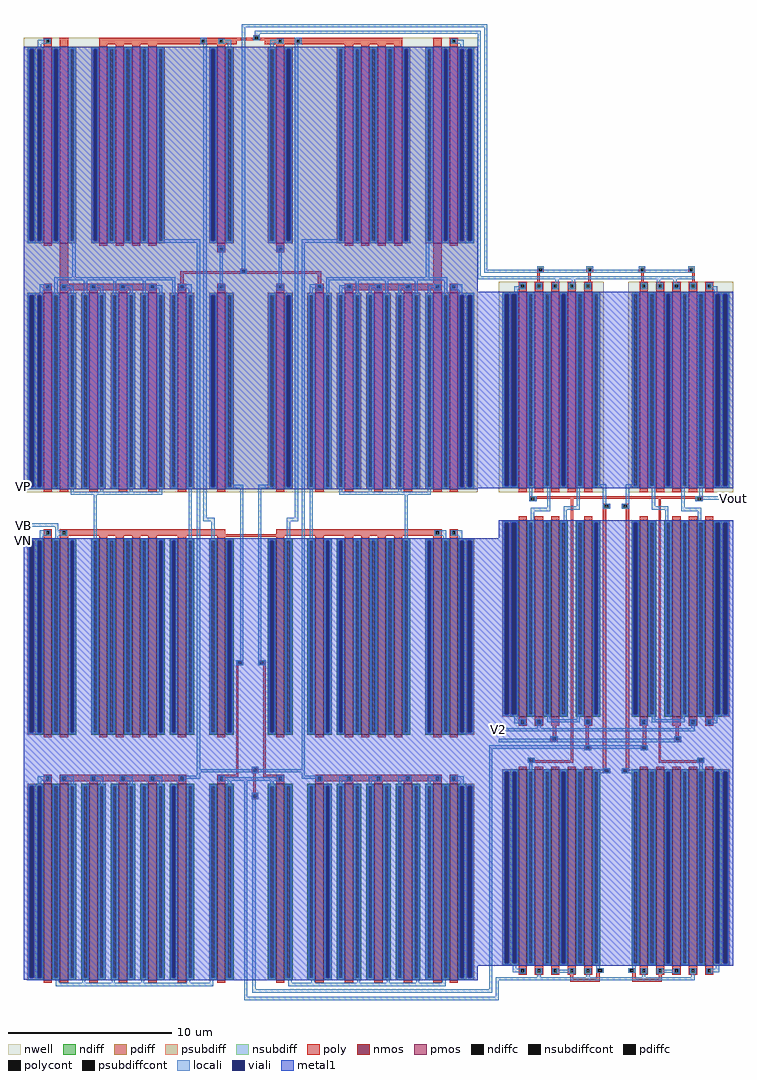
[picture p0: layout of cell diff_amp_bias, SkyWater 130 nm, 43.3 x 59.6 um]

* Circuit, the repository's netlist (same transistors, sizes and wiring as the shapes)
* NGSPICE file created from diff_amp_bias.ext - technology: sky130A

.subckt bias_gen VB VP VN VCP VBP VBN VCN
X0 a_4180_9000# VBP a_3980_9000# VP sky130_fd_pr__pfet_01v8 ad=3 pd=12.5 as=3 ps=12.5 w=12 l=0.5
X1 a_3420_6000# a_3580_6000# a_3580_6000# VP sky130_fd_pr__pfet_01v8 ad=3 pd=12.5 as=6 ps=25 w=12 l=0.5
X2 VN VB VB VN sky130_fd_pr__nfet_01v8 ad=6 pd=25 as=3 ps=12.5 w=12 l=0.5
X3 a_3780_3000# VB VN VN sky130_fd_pr__nfet_01v8 ad=3 pd=12.5 as=6 ps=25 w=12 l=0.5
X4 VN VN a_2940_0# VN sky130_fd_pr__nfet_01v8 ad=6 pd=25 as=3 ps=12.5 w=12 l=0.5
X5 VCP VCP a_100_6000# VP sky130_fd_pr__pfet_01v8 ad=6 pd=25 as=6 ps=25 w=12 l=0.5
X6 VN VB VBP VN sky130_fd_pr__nfet_01v8 ad=6 pd=25 as=6 ps=25 w=12 l=0.5
X7 VP VP VP VP sky130_fd_pr__pfet_01v8 ad=6 pd=25 as=72 ps=300 w=12 l=0.5
X8 a_3980_9000# VBP a_3780_9000# VP sky130_fd_pr__pfet_01v8 ad=3 pd=12.5 as=3 ps=12.5 w=12 l=0.5
X9 a_100_0# VN VN VN sky130_fd_pr__nfet_01v8 ad=3 pd=12.5 as=6 ps=25 w=12 l=0.5
X10 a_980_3000# VB a_780_3000# VN sky130_fd_pr__nfet_01v8 ad=3 pd=12.5 as=3 ps=12.5 w=12 l=0.5
X11 VN VB a_1180_3000# VN sky130_fd_pr__nfet_01v8 ad=6 pd=25 as=3 ps=12.5 w=12 l=0.5
X12 a_200_5970# a_200_5970# a_100_6000# VP sky130_fd_pr__pfet_01v8 ad=6 pd=25 as=6 ps=25 w=12 l=0.5
X13 a_100_6000# VP VP VP sky130_fd_pr__pfet_01v8 ad=3 pd=12.5 as=6 ps=25 w=12 l=0.5
X14 a_3420_6000# VCP VCP VP sky130_fd_pr__pfet_01v8 ad=6 pd=25 as=6 ps=25 w=12 l=0.5
X15 a_780_9000# VBP VP VP sky130_fd_pr__pfet_01v8 ad=3 pd=12.5 as=6 ps=25 w=12 l=0.5
X16 a_1180_9000# VBP a_980_9000# VP sky130_fd_pr__pfet_01v8 ad=3 pd=12.5 as=3 ps=12.5 w=12 l=0.5
X17 a_3420_6000# a_3580_6000# a_3580_6000# VP sky130_fd_pr__pfet_01v8 ad=6 pd=25 as=6 ps=25 w=12 l=0.5
X18 VCN VCN a_100_0# VN sky130_fd_pr__nfet_01v8 ad=6 pd=25 as=6 ps=25 w=12 l=0.5
X19 VB VB VN VN sky130_fd_pr__nfet_01v8 ad=3 pd=12.5 as=6 ps=25 w=12 l=0.5
X20 VBN VBN a_100_0# VN sky130_fd_pr__nfet_01v8 ad=6 pd=25 as=3 ps=12.5 w=12 l=0.5
X21 VP VP VP VP sky130_fd_pr__pfet_01v8 ad=3 pd=12.5 as=0 ps=0 w=12 l=0.5
X22 VCP VB VN VN sky130_fd_pr__nfet_01v8 ad=6 pd=25 as=6 ps=25 w=12 l=0.5
X23 a_100_0# VBN VN VN sky130_fd_pr__nfet_01v8 ad=6 pd=25 as=6 ps=25 w=12 l=0.5
X24 a_4180_3000# VB a_3980_3000# VN sky130_fd_pr__nfet_01v8 ad=3 pd=12.5 as=3 ps=12.5 w=12 l=0.5
X25 VN VBN a_2940_0# VN sky130_fd_pr__nfet_01v8 ad=6 pd=25 as=6 ps=25 w=12 l=0.5
X26 a_2940_0# VBN VBN VN sky130_fd_pr__nfet_01v8 ad=6 pd=25 as=6 ps=25 w=12 l=0.5
X27 VP VBP VBP VP sky130_fd_pr__pfet_01v8 ad=6 pd=25 as=6 ps=25 w=12 l=0.5
X28 a_200_5970# a_200_5970# a_100_6000# VP sky130_fd_pr__pfet_01v8 ad=6 pd=25 as=6 ps=25 w=12 l=0.5
X29 VP VBP a_4180_9000# VP sky130_fd_pr__pfet_01v8 ad=6 pd=25 as=3 ps=12.5 w=12 l=0.5
X30 VP VP a_3420_6000# VP sky130_fd_pr__pfet_01v8 ad=6 pd=25 as=3 ps=12.5 w=12 l=0.5
X31 a_2940_0# VCN VCN VN sky130_fd_pr__nfet_01v8 ad=6 pd=25 as=6 ps=25 w=12 l=0.5
X32 VP VBP VCN VP sky130_fd_pr__pfet_01v8 ad=6 pd=25 as=6 ps=25 w=12 l=0.5
X33 a_3420_6000# a_3580_6000# a_3580_6000# VP sky130_fd_pr__pfet_01v8 ad=6 pd=25 as=6 ps=25 w=12 l=0.5
X34 VBN VBN a_100_0# VN sky130_fd_pr__nfet_01v8 ad=6 pd=25 as=6 ps=25 w=12 l=0.5
X35 VBN VBN a_100_0# VN sky130_fd_pr__nfet_01v8 ad=6 pd=25 as=6 ps=25 w=12 l=0.5
X36 VB VN VN VN sky130_fd_pr__nfet_01v8 ad=3 pd=12.5 as=6 ps=25 w=12 l=0.5
X37 VN VB VCP VN sky130_fd_pr__nfet_01v8 ad=6 pd=25 as=6 ps=25 w=12 l=0.5
X38 a_3980_3000# VB a_3780_3000# VN sky130_fd_pr__nfet_01v8 ad=3 pd=12.5 as=3 ps=12.5 w=12 l=0.5
X39 a_2940_0# VBN VBN VN sky130_fd_pr__nfet_01v8 ad=6 pd=25 as=6 ps=25 w=12 l=0.5
X40 a_100_6000# a_200_5970# VP VP sky130_fd_pr__pfet_01v8 ad=6 pd=25 as=3 ps=12.5 w=12 l=0.5
X41 a_3780_9000# VBP VBN VP sky130_fd_pr__pfet_01v8 ad=3 pd=12.5 as=6 ps=25 w=12 l=0.5
X42 a_780_3000# VB a_200_5970# VN sky130_fd_pr__nfet_01v8 ad=3 pd=12.5 as=6 ps=25 w=12 l=0.5
X43 a_1180_3000# VB a_980_3000# VN sky130_fd_pr__nfet_01v8 ad=3 pd=12.5 as=3 ps=12.5 w=12 l=0.5
X44 VBN VBN a_100_0# VN sky130_fd_pr__nfet_01v8 ad=6 pd=25 as=6 ps=25 w=12 l=0.5
X45 VBP VBP VP VP sky130_fd_pr__pfet_01v8 ad=6 pd=25 as=6 ps=25 w=12 l=0.5
X46 a_2940_0# VBN VBN VN sky130_fd_pr__nfet_01v8 ad=3 pd=12.5 as=6 ps=25 w=12 l=0.5
X47 a_200_5970# a_200_5970# a_100_6000# VP sky130_fd_pr__pfet_01v8 ad=6 pd=25 as=3 ps=12.5 w=12 l=0.5
X48 a_3420_6000# a_3580_6000# a_3580_6000# VP sky130_fd_pr__pfet_01v8 ad=6 pd=25 as=6 ps=25 w=12 l=0.5
X49 a_2940_0# VBN VBN VN sky130_fd_pr__nfet_01v8 ad=6 pd=25 as=6 ps=25 w=12 l=0.5
X50 a_980_9000# VBP a_780_9000# VP sky130_fd_pr__pfet_01v8 ad=3 pd=12.5 as=3 ps=12.5 w=12 l=0.5
X51 VBN VBP a_1180_9000# VP sky130_fd_pr__pfet_01v8 ad=6 pd=25 as=3 ps=12.5 w=12 l=0.5
X52 VN VN VB VN sky130_fd_pr__nfet_01v8 ad=6 pd=25 as=3 ps=12.5 w=12 l=0.5
X53 VCN VBP VP VP sky130_fd_pr__pfet_01v8 ad=6 pd=25 as=6 ps=25 w=12 l=0.5
X54 VBP VB VN VN sky130_fd_pr__nfet_01v8 ad=6 pd=25 as=6 ps=25 w=12 l=0.5
X55 a_200_5970# a_200_5970# a_100_6000# VP sky130_fd_pr__pfet_01v8 ad=6 pd=25 as=6 ps=25 w=12 l=0.5
X56 VP a_3580_6000# a_3420_6000# VP sky130_fd_pr__pfet_01v8 ad=3 pd=12.5 as=6 ps=25 w=12 l=0.5
X57 a_3580_6000# VB a_4180_3000# VN sky130_fd_pr__nfet_01v8 ad=6 pd=25 as=3 ps=12.5 w=12 l=0.5
.ends

.subckt diff_amp VCN VBN V1 V2 VBP VCP Vout VN VP
X0 VN VBN a_310_2950# VN sky130_fd_pr__nfet_01v8 ad=6 pd=25 as=6 ps=25 w=12 l=0.5
X1 a_1990_5740# V2 a_1590_2950# VN sky130_fd_pr__nfet_01v8 ad=3 pd=12.5 as=3 ps=12.5 w=12 l=0.5
X2 a_1590_n90# VCN a_1270_2260# VN sky130_fd_pr__nfet_01v8 ad=3 pd=12.5 as=6 ps=25 w=12 l=0.5
X3 a_110_2950# VCP Vout VP sky130_fd_pr__pfet_01v8 ad=3 pd=12.5 as=3 ps=12.5 w=12 l=0.5
X4 a_510_2950# VBP VP VP sky130_fd_pr__pfet_01v8 ad=3 pd=12.5 as=3 ps=12.5 w=12 l=0.5
X5 a_1590_2950# VBN VN VN sky130_fd_pr__nfet_01v8 ad=6 pd=25 as=6 ps=25 w=12 l=0.5
X6 VP VP Vout VP sky130_fd_pr__pfet_01v8 ad=6 pd=25 as=3 ps=12.5 w=12 l=0.5
X7 a_1590_2950# V1 a_1590_5740# VN sky130_fd_pr__nfet_01v8 ad=3 pd=12.5 as=6 ps=25 w=12 l=0.5
X8 Vout VP VP VP sky130_fd_pr__pfet_01v8 ad=3 pd=12.5 as=6 ps=25 w=12 l=0.5
X9 VP VBP a_1590_5740# VP sky130_fd_pr__pfet_01v8 ad=3 pd=12.5 as=3 ps=12.5 w=12 l=0.5
X10 a_710_n90# a_410_n200# VN VN sky130_fd_pr__nfet_01v8 ad=3 pd=12.5 as=3 ps=12.5 w=12 l=0.5
X11 VN VN Vout VN sky130_fd_pr__nfet_01v8 ad=6 pd=25 as=3 ps=12.5 w=12 l=0.5
X12 VN a_1270_2260# a_1590_n90# VN sky130_fd_pr__nfet_01v8 ad=3 pd=12.5 as=3 ps=12.5 w=12 l=0.5
X13 a_310_2950# V2 a_110_2950# VN sky130_fd_pr__nfet_01v8 ad=3 pd=12.5 as=3 ps=12.5 w=12 l=0.5
X14 VN VN a_1990_5740# VN sky130_fd_pr__nfet_01v8 ad=6 pd=25 as=3 ps=12.5 w=12 l=0.5
X15 Vout VN VN VN sky130_fd_pr__nfet_01v8 ad=3 pd=12.5 as=6 ps=25 w=12 l=0.5
X16 a_310_n90# VCN Vout VN sky130_fd_pr__nfet_01v8 ad=3 pd=12.5 as=3 ps=12.5 w=12 l=0.5
X17 VP VBP a_110_2950# VP sky130_fd_pr__pfet_01v8 ad=3 pd=12.5 as=3 ps=12.5 w=12 l=0.5
X18 a_410_n200# VCP a_510_2950# VP sky130_fd_pr__pfet_01v8 ad=6 pd=25 as=3 ps=12.5 w=12 l=0.5
X19 Vout VCP a_1990_5740# VP sky130_fd_pr__pfet_01v8 ad=3 pd=12.5 as=3 ps=12.5 w=12 l=0.5
X20 a_110_2950# VN VN VN sky130_fd_pr__nfet_01v8 ad=3 pd=12.5 as=6 ps=25 w=12 l=0.5
X21 a_1590_5740# VCP a_1270_2260# VP sky130_fd_pr__pfet_01v8 ad=3 pd=12.5 as=6 ps=25 w=12 l=0.5
X22 a_1990_5740# VBP VP VP sky130_fd_pr__pfet_01v8 ad=3 pd=12.5 as=3 ps=12.5 w=12 l=0.5
X23 a_410_n200# VCN a_710_n90# VN sky130_fd_pr__nfet_01v8 ad=6 pd=25 as=3 ps=12.5 w=12 l=0.5
X24 a_1990_n90# a_1270_2260# VN VN sky130_fd_pr__nfet_01v8 ad=3 pd=12.5 as=3 ps=12.5 w=12 l=0.5
X25 a_510_2950# V1 a_310_2950# VN sky130_fd_pr__nfet_01v8 ad=6 pd=25 as=3 ps=12.5 w=12 l=0.5
X26 VN a_410_n200# a_310_n90# VN sky130_fd_pr__nfet_01v8 ad=3 pd=12.5 as=3 ps=12.5 w=12 l=0.5
X27 Vout VCN a_1990_n90# VN sky130_fd_pr__nfet_01v8 ad=3 pd=12.5 as=3 ps=12.5 w=12 l=0.5
.ends


* Top level circuit diff_amp_bias

Xbias_gen_0 VB VP VN diff_amp_0/VCP diff_amp_0/VBP diff_amp_0/VBN diff_amp_0/VCN bias_gen
Xdiff_amp_0 diff_amp_0/VCN diff_amp_0/VBN V1 V2 diff_amp_0/VBP diff_amp_0/VCP Vout
+ VN VP diff_amp
.end

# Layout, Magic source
magic
tech sky130A
<< locali >>
rect 2770 5940 2830 5960
rect 2770 4420 2790 5920
rect 2810 4460 2830 5940
rect 2810 4440 2925 4460
rect 2770 4400 2905 4420
rect 4310 3055 4330 3075
rect 0 2890 20 2910
rect 2900 1640 2920 1660
rect 2900 1575 2920 1595
rect 2840 1535 2900 1555
rect 2840 65 2860 1535
rect 2770 45 2860 65
rect 2880 20 2900 140
rect 2770 0 2900 20
<< metal1 >>
rect 0 3125 15 3145
rect 2765 3125 2905 4325
rect 0 2795 15 2815
rect 2765 210 2905 2820
use bias_gen  bias_gen_0
transform 1 0 120 0 1 120
box -120 -120 2650 5840
use diff_amp  diff_amp_0
transform 1 0 3015 0 1 255
box -115 -145 1315 4225
<< labels >>
rlabel locali 0 2900 0 2900 7 VB
rlabel metal1 0 3135 0 3135 7 VP
rlabel metal1 0 2805 0 2805 7 VN
rlabel locali 2900 1650 2900 1650 7 V2
rlabel locali 2900 1585 2900 1585 7 V1
rlabel locali 4330 3065 4330 3065 3 Vout
<< end >>

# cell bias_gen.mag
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
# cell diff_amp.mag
magic
tech sky130A
<< nwell >>
rect -115 2845 525 4130
rect 675 2845 1315 4130
<< nmos >>
rect 5 1475 55 2675
rect 105 1475 155 2675
rect 205 1475 255 2675
rect 405 1475 455 2675
rect 745 1475 795 2675
rect 945 1475 995 2675
rect 1045 1475 1095 2675
rect 1145 1475 1195 2675
rect 5 -45 55 1155
rect 105 -45 155 1155
rect 205 -45 255 1155
rect 305 -45 355 1155
rect 405 -45 455 1155
rect 745 -45 795 1155
rect 845 -45 895 1155
rect 945 -45 995 1155
rect 1045 -45 1095 1155
rect 1145 -45 1195 1155
<< pmos >>
rect 5 2870 55 4070
rect 105 2870 155 4070
rect 205 2870 255 4070
rect 305 2870 355 4070
rect 405 2870 455 4070
rect 745 2870 795 4070
rect 845 2870 895 4070
rect 945 2870 995 4070
rect 1045 2870 1095 4070
rect 1145 2870 1195 4070
<< ndiff >>
rect -45 2660 5 2675
rect -45 1490 -35 2660
rect -10 1490 5 2660
rect -45 1475 5 1490
rect 55 2660 105 2675
rect 55 1490 70 2660
rect 90 1490 105 2660
rect 55 1475 105 1490
rect 155 2660 205 2675
rect 155 1490 170 2660
rect 190 1490 205 2660
rect 155 1475 205 1490
rect 255 2660 305 2675
rect 255 1490 270 2660
rect 290 1490 305 2660
rect 255 1475 305 1490
rect 355 2660 405 2675
rect 355 1490 370 2660
rect 390 1490 405 2660
rect 355 1475 405 1490
rect 455 2660 505 2675
rect 455 1490 470 2660
rect 490 1490 505 2660
rect 455 1475 505 1490
rect 695 2660 745 2675
rect 695 1490 710 2660
rect 730 1490 745 2660
rect 695 1475 745 1490
rect 795 2660 845 2675
rect 795 1490 810 2660
rect 830 1490 845 2660
rect 795 1475 845 1490
rect 895 2660 945 2675
rect 895 1490 910 2660
rect 930 1490 945 2660
rect 895 1475 945 1490
rect 995 2660 1045 2675
rect 995 1490 1010 2660
rect 1030 1490 1045 2660
rect 995 1475 1045 1490
rect 1095 2660 1145 2675
rect 1095 1490 1110 2660
rect 1130 1490 1145 2660
rect 1095 1475 1145 1490
rect 1195 2660 1245 2675
rect 1195 1490 1210 2660
rect 1235 1490 1245 2660
rect 1195 1475 1245 1490
rect -45 1140 5 1155
rect -45 -30 -30 1140
rect -10 -30 5 1140
rect -45 -45 5 -30
rect 55 1140 105 1155
rect 55 -30 70 1140
rect 90 -30 105 1140
rect 55 -45 105 -30
rect 155 1140 205 1155
rect 155 -30 170 1140
rect 190 -30 205 1140
rect 155 -45 205 -30
rect 255 1140 305 1155
rect 255 -30 270 1140
rect 290 -30 305 1140
rect 255 -45 305 -30
rect 355 1140 405 1155
rect 355 -30 370 1140
rect 390 -30 405 1140
rect 355 -45 405 -30
rect 455 1140 505 1155
rect 455 -30 470 1140
rect 490 -30 505 1140
rect 695 1140 745 1155
rect 455 -45 505 -30
rect 695 -30 710 1140
rect 730 -30 745 1140
rect 695 -45 745 -30
rect 795 1140 845 1155
rect 795 -30 810 1140
rect 830 -30 845 1140
rect 795 -45 845 -30
rect 895 1140 945 1155
rect 895 -30 910 1140
rect 930 -30 945 1140
rect 895 -45 945 -30
rect 995 1140 1045 1155
rect 995 -30 1010 1140
rect 1030 -30 1045 1140
rect 995 -45 1045 -30
rect 1095 1140 1145 1155
rect 1095 -30 1110 1140
rect 1130 -30 1145 1140
rect 1095 -45 1145 -30
rect 1195 1140 1245 1155
rect 1195 -30 1210 1140
rect 1230 -30 1245 1140
rect 1195 -45 1245 -30
<< pdiff >>
rect -45 4055 5 4070
rect -45 2885 -35 4055
rect -10 2885 5 4055
rect -45 2870 5 2885
rect 55 4055 105 4070
rect 55 2885 70 4055
rect 90 2885 105 4055
rect 55 2870 105 2885
rect 155 4055 205 4070
rect 155 2885 170 4055
rect 190 2885 205 4055
rect 155 2870 205 2885
rect 255 4055 305 4070
rect 255 2885 270 4055
rect 290 2885 305 4055
rect 255 2870 305 2885
rect 355 4055 405 4070
rect 355 2885 370 4055
rect 390 2885 405 4055
rect 355 2870 405 2885
rect 455 4055 505 4070
rect 455 2885 470 4055
rect 490 2885 505 4055
rect 455 2870 505 2885
rect 695 4055 745 4070
rect 695 2885 710 4055
rect 730 2885 745 4055
rect 695 2870 745 2885
rect 795 4055 845 4070
rect 795 2885 810 4055
rect 830 2885 845 4055
rect 795 2870 845 2885
rect 895 4055 945 4070
rect 895 2885 910 4055
rect 930 2885 945 4055
rect 895 2870 945 2885
rect 995 4055 1045 4070
rect 995 2885 1010 4055
rect 1030 2885 1045 4055
rect 995 2870 1045 2885
rect 1095 4055 1145 4070
rect 1095 2885 1110 4055
rect 1130 2885 1145 4055
rect 1095 2870 1145 2885
rect 1195 4055 1245 4070
rect 1195 2885 1210 4055
rect 1235 2885 1245 4055
rect 1195 2870 1245 2885
<< ndiffc >>
rect -35 1490 -10 2660
rect 70 1490 90 2660
rect 170 1490 190 2660
rect 270 1490 290 2660
rect 370 1490 390 2660
rect 470 1490 490 2660
rect 710 1490 730 2660
rect 810 1490 830 2660
rect 910 1490 930 2660
rect 1010 1490 1030 2660
rect 1110 1490 1130 2660
rect 1210 1490 1235 2660
rect -30 -30 -10 1140
rect 70 -30 90 1140
rect 170 -30 190 1140
rect 270 -30 290 1140
rect 370 -30 390 1140
rect 470 -30 490 1140
rect 710 -30 730 1140
rect 810 -30 830 1140
rect 910 -30 930 1140
rect 1010 -30 1030 1140
rect 1110 -30 1130 1140
rect 1210 -30 1230 1140
<< pdiffc >>
rect -35 2885 -10 4055
rect 70 2885 90 4055
rect 170 2885 190 4055
rect 270 2885 290 4055
rect 370 2885 390 4055
rect 470 2885 490 4055
rect 710 2885 730 4055
rect 810 2885 830 4055
rect 910 2885 930 4055
rect 1010 2885 1030 4055
rect 1110 2885 1130 4055
rect 1210 2885 1235 4055
<< psubdiff >>
rect -95 2660 -45 2675
rect -95 1490 -80 2660
rect -55 1490 -45 2660
rect -95 1475 -45 1490
rect 1245 2660 1295 2675
rect 1245 1490 1255 2660
rect 1280 1490 1295 2660
rect 1245 1475 1295 1490
rect -95 1140 -45 1155
rect -95 -30 -80 1140
rect -55 -30 -45 1140
rect -95 -45 -45 -30
rect 1245 1140 1295 1155
rect 1245 -30 1255 1140
rect 1280 -30 1295 1140
rect 1245 -45 1295 -30
<< nsubdiff >>
rect -95 4055 -45 4070
rect -95 2885 -80 4055
rect -55 2885 -45 4055
rect -95 2870 -45 2885
rect 1245 4055 1295 4070
rect 1245 2885 1255 4055
rect 1280 2885 1295 4055
rect 1245 2870 1295 2885
<< psubdiffcont >>
rect -80 1490 -55 2660
rect 1255 1490 1280 2660
rect -80 -30 -55 1140
rect 1255 -30 1280 1140
<< nsubdiffcont >>
rect -80 2885 -55 4055
rect 1255 2885 1280 4055
<< poly >>
rect 120 4215 160 4225
rect 120 4195 130 4215
rect 150 4195 160 4215
rect 120 4185 160 4195
rect 420 4215 460 4225
rect 420 4195 430 4215
rect 450 4195 460 4215
rect 420 4185 460 4195
rect 740 4215 780 4225
rect 740 4195 750 4215
rect 770 4195 780 4215
rect 740 4185 780 4195
rect 1040 4215 1080 4225
rect 1040 4195 1050 4215
rect 1070 4195 1080 4215
rect 1040 4185 1080 4195
rect 120 4130 135 4185
rect 430 4130 445 4185
rect 755 4130 770 4185
rect 1065 4130 1080 4185
rect 5 4115 55 4130
rect 5 4095 20 4115
rect 40 4095 55 4115
rect 5 4070 55 4095
rect 105 4115 155 4130
rect 105 4095 120 4115
rect 140 4095 155 4115
rect 105 4070 155 4095
rect 205 4115 255 4130
rect 205 4095 220 4115
rect 240 4095 255 4115
rect 205 4070 255 4095
rect 305 4115 355 4130
rect 305 4095 320 4115
rect 340 4095 355 4115
rect 305 4070 355 4095
rect 405 4115 455 4130
rect 405 4095 420 4115
rect 440 4095 455 4115
rect 405 4070 455 4095
rect 745 4115 795 4130
rect 745 4095 760 4115
rect 780 4095 795 4115
rect 745 4070 795 4095
rect 845 4115 895 4130
rect 845 4095 860 4115
rect 880 4095 895 4115
rect 845 4070 895 4095
rect 945 4115 995 4130
rect 945 4095 960 4115
rect 980 4095 995 4115
rect 945 4070 995 4095
rect 1045 4115 1095 4130
rect 1045 4095 1060 4115
rect 1080 4095 1095 4115
rect 1045 4070 1095 4095
rect 1145 4115 1195 4130
rect 1145 4095 1160 4115
rect 1180 4095 1195 4115
rect 1145 4070 1195 4095
rect 5 2845 55 2870
rect 105 2845 155 2870
rect 205 2845 255 2870
rect 305 2845 355 2870
rect 405 2845 455 2870
rect 745 2845 795 2870
rect 845 2845 895 2870
rect 945 2845 995 2870
rect 1045 2845 1095 2870
rect 1145 2845 1195 2870
rect 70 2815 1130 2820
rect 70 2795 80 2815
rect 105 2805 1095 2815
rect 105 2795 115 2805
rect 70 2790 115 2795
rect 5 2675 55 2700
rect 105 2675 155 2700
rect 205 2675 255 2700
rect 5 1455 55 1475
rect 5 1430 20 1455
rect 40 1430 55 1455
rect 5 1420 55 1430
rect 105 1455 155 1475
rect 105 1430 120 1455
rect 140 1430 155 1455
rect 105 1420 155 1430
rect 205 1420 255 1475
rect 215 1355 235 1420
rect 200 1350 245 1355
rect 200 1330 210 1350
rect 235 1330 245 1350
rect 200 1325 245 1330
rect 60 1220 105 1225
rect 60 1200 70 1220
rect 95 1210 105 1220
rect 325 1210 340 2805
rect 520 2770 565 2775
rect 520 2750 530 2770
rect 555 2750 565 2770
rect 520 2745 565 2750
rect 635 2770 680 2775
rect 635 2750 645 2770
rect 670 2750 680 2770
rect 635 2745 680 2750
rect 405 2675 455 2700
rect 405 1455 455 1475
rect 405 1430 420 1455
rect 440 1430 455 1455
rect 405 1420 455 1430
rect 415 1300 435 1420
rect 405 1295 450 1300
rect 405 1275 415 1295
rect 440 1275 450 1295
rect 405 1270 450 1275
rect 95 1200 340 1210
rect 60 1195 340 1200
rect 5 1155 55 1170
rect 105 1155 155 1170
rect 205 1155 255 1170
rect 305 1155 355 1170
rect 405 1155 455 1170
rect 520 1160 540 2745
rect 660 1160 680 2745
rect 745 2675 795 2700
rect 745 1455 795 1475
rect 745 1430 760 1455
rect 780 1430 795 1455
rect 745 1420 795 1430
rect 765 1300 785 1420
rect 750 1295 795 1300
rect 750 1275 760 1295
rect 785 1275 795 1295
rect 750 1270 795 1275
rect 860 1210 875 2805
rect 1085 2795 1095 2805
rect 1120 2795 1130 2815
rect 1085 2790 1130 2795
rect 945 2675 995 2700
rect 1045 2675 1095 2700
rect 1145 2675 1195 2700
rect 945 1420 995 1475
rect 1045 1455 1095 1475
rect 1045 1430 1060 1455
rect 1080 1430 1095 1455
rect 1045 1420 1095 1430
rect 1145 1455 1195 1475
rect 1145 1430 1160 1455
rect 1180 1430 1195 1455
rect 1145 1420 1195 1430
rect 965 1355 985 1420
rect 955 1350 1000 1355
rect 955 1330 965 1350
rect 990 1330 1000 1350
rect 955 1325 1000 1330
rect 1095 1220 1140 1225
rect 1095 1210 1105 1220
rect 860 1200 1105 1210
rect 1130 1200 1140 1220
rect 860 1195 1140 1200
rect 520 1155 565 1160
rect 520 1135 530 1155
rect 555 1135 565 1155
rect 520 1130 565 1135
rect 635 1155 680 1160
rect 745 1155 795 1170
rect 845 1155 895 1170
rect 945 1155 995 1170
rect 1045 1155 1095 1170
rect 1145 1155 1195 1170
rect 635 1135 645 1155
rect 670 1135 680 1155
rect 635 1130 680 1135
rect 5 -65 55 -45
rect 5 -90 20 -65
rect 40 -90 55 -65
rect 5 -100 55 -90
rect 105 -65 155 -45
rect 105 -90 120 -65
rect 140 -90 155 -65
rect 105 -100 155 -90
rect 205 -65 255 -45
rect 205 -90 220 -65
rect 240 -90 255 -65
rect 205 -100 255 -90
rect 305 -65 355 -45
rect 305 -90 320 -65
rect 340 -90 355 -65
rect 305 -100 355 -90
rect 405 -65 455 -45
rect 405 -90 420 -65
rect 440 -90 455 -65
rect 405 -100 455 -90
rect 480 -65 525 -60
rect 480 -85 490 -65
rect 515 -85 525 -65
rect 480 -90 525 -85
rect 675 -65 720 -60
rect 675 -85 685 -65
rect 710 -85 720 -65
rect 675 -90 720 -85
rect 320 -125 340 -100
rect 480 -125 500 -90
rect 320 -145 500 -125
rect 700 -125 720 -90
rect 745 -65 795 -45
rect 745 -90 760 -65
rect 780 -90 795 -65
rect 745 -100 795 -90
rect 845 -65 895 -45
rect 845 -90 860 -65
rect 880 -90 895 -65
rect 845 -100 895 -90
rect 945 -65 995 -45
rect 945 -90 960 -65
rect 980 -90 995 -65
rect 945 -100 995 -90
rect 1045 -65 1095 -45
rect 1045 -90 1060 -65
rect 1080 -90 1095 -65
rect 1045 -100 1095 -90
rect 1145 -65 1195 -45
rect 1145 -90 1160 -65
rect 1180 -90 1195 -65
rect 1145 -100 1195 -90
rect 860 -125 880 -100
rect 700 -145 880 -125
<< polycont >>
rect 130 4195 150 4215
rect 430 4195 450 4215
rect 750 4195 770 4215
rect 1050 4195 1070 4215
rect 20 4095 40 4115
rect 120 4095 140 4115
rect 220 4095 240 4115
rect 320 4095 340 4115
rect 420 4095 440 4115
rect 760 4095 780 4115
rect 860 4095 880 4115
rect 960 4095 980 4115
rect 1060 4095 1080 4115
rect 1160 4095 1180 4115
rect 80 2795 105 2815
rect 20 1430 40 1455
rect 120 1430 140 1455
rect 210 1330 235 1350
rect 70 1200 95 1220
rect 530 2750 555 2770
rect 645 2750 670 2770
rect 420 1430 440 1455
rect 415 1275 440 1295
rect 760 1430 780 1455
rect 760 1275 785 1295
rect 1095 2795 1120 2815
rect 1060 1430 1080 1455
rect 1160 1430 1180 1455
rect 965 1330 990 1350
rect 1105 1200 1130 1220
rect 530 1135 555 1155
rect 645 1135 670 1155
rect 20 -90 40 -65
rect 120 -90 140 -65
rect 220 -90 240 -65
rect 320 -90 340 -65
rect 420 -90 440 -65
rect 490 -85 515 -65
rect 685 -85 710 -65
rect 760 -90 780 -65
rect 860 -90 880 -65
rect 960 -90 980 -65
rect 1060 -90 1080 -65
rect 1160 -90 1180 -65
<< locali >>
rect 120 4215 160 4225
rect 120 4205 130 4215
rect -115 4195 130 4205
rect 150 4205 160 4215
rect 420 4215 460 4225
rect 420 4205 430 4215
rect 150 4195 430 4205
rect 450 4205 460 4215
rect 740 4215 780 4225
rect 740 4205 750 4215
rect 450 4195 750 4205
rect 770 4205 780 4215
rect 1040 4215 1080 4225
rect 1040 4205 1050 4215
rect 770 4195 1050 4205
rect 1070 4195 1080 4215
rect -115 4185 1080 4195
rect -115 4145 1080 4165
rect 230 4125 250 4145
rect 330 4125 350 4145
rect 850 4125 870 4145
rect 950 4125 970 4145
rect 10 4115 50 4125
rect 10 4105 20 4115
rect -20 4095 20 4105
rect 40 4095 50 4115
rect -20 4085 50 4095
rect 110 4115 150 4125
rect 110 4095 120 4115
rect 140 4095 150 4115
rect 110 4085 150 4095
rect 210 4115 250 4125
rect 210 4095 220 4115
rect 240 4095 250 4115
rect 210 4085 250 4095
rect 310 4115 350 4125
rect 310 4095 320 4115
rect 340 4095 350 4115
rect 310 4085 350 4095
rect 410 4115 450 4125
rect 410 4095 420 4115
rect 440 4095 450 4115
rect 410 4085 450 4095
rect 750 4115 790 4125
rect 750 4095 760 4115
rect 780 4095 790 4115
rect 750 4085 790 4095
rect 850 4115 890 4125
rect 850 4095 860 4115
rect 880 4095 890 4115
rect 850 4085 890 4095
rect 950 4115 990 4125
rect 950 4095 960 4115
rect 980 4095 990 4115
rect 950 4085 990 4095
rect 1050 4115 1090 4125
rect 1050 4095 1060 4115
rect 1080 4095 1090 4115
rect 1050 4085 1090 4095
rect 1150 4115 1190 4125
rect 1150 4095 1160 4115
rect 1180 4105 1190 4115
rect 1180 4095 1220 4105
rect 1150 4085 1220 4095
rect -20 4065 0 4085
rect 1200 4065 1220 4085
rect -90 4055 0 4065
rect -90 2885 -80 4055
rect -55 2885 -35 4055
rect -10 2885 0 4055
rect -90 2875 0 2885
rect 60 4055 100 4065
rect 60 2885 70 4055
rect 90 2885 100 4055
rect 60 2875 100 2885
rect 160 4055 200 4065
rect 160 2885 170 4055
rect 190 2885 200 4055
rect 160 2875 200 2885
rect 260 4055 300 4065
rect 260 2885 270 4055
rect 290 2885 300 4055
rect 260 2875 300 2885
rect 360 4055 400 4065
rect 360 2885 370 4055
rect 390 2885 400 4055
rect 360 2875 400 2885
rect 460 4055 500 4065
rect 460 2885 470 4055
rect 490 2895 500 4055
rect 700 4055 740 4065
rect 700 2895 710 4055
rect 490 2885 540 2895
rect 460 2875 540 2885
rect 70 2820 90 2875
rect 70 2815 115 2820
rect 70 2795 80 2815
rect 105 2795 115 2815
rect 70 2790 115 2795
rect 180 2750 200 2875
rect 360 2760 380 2875
rect 80 2730 200 2750
rect 280 2740 380 2760
rect 520 2775 540 2875
rect 660 2885 710 2895
rect 730 2885 740 4055
rect 660 2875 740 2885
rect 800 4055 840 4065
rect 800 2885 810 4055
rect 830 2885 840 4055
rect 800 2875 840 2885
rect 900 4055 940 4065
rect 900 2885 910 4055
rect 930 2885 940 4055
rect 900 2875 940 2885
rect 1000 4055 1040 4065
rect 1000 2885 1010 4055
rect 1030 2885 1040 4055
rect 1000 2875 1040 2885
rect 1100 4055 1140 4065
rect 1100 2885 1110 4055
rect 1130 2885 1140 4055
rect 1100 2875 1140 2885
rect 1200 4055 1290 4065
rect 1200 2885 1210 4055
rect 1235 2885 1255 4055
rect 1280 2885 1290 4055
rect 1200 2875 1290 2885
rect 660 2775 680 2875
rect 520 2770 565 2775
rect 520 2750 530 2770
rect 555 2750 565 2770
rect 520 2745 565 2750
rect 635 2770 680 2775
rect 635 2750 645 2770
rect 670 2750 680 2770
rect 635 2745 680 2750
rect 820 2760 840 2875
rect 820 2740 920 2760
rect 80 2670 100 2730
rect 280 2670 300 2740
rect 900 2670 920 2740
rect 1000 2750 1020 2875
rect 1110 2820 1130 2875
rect 1085 2815 1315 2820
rect 1085 2795 1095 2815
rect 1120 2800 1315 2815
rect 1120 2795 1130 2800
rect 1085 2790 1130 2795
rect 1000 2730 1120 2750
rect 1100 2670 1120 2730
rect -90 2660 0 2670
rect -90 1490 -80 2660
rect -55 1490 -35 2660
rect -10 1490 0 2660
rect -90 1480 0 1490
rect 60 2660 100 2670
rect 60 1490 70 2660
rect 90 1490 100 2660
rect 60 1480 100 1490
rect 160 2660 200 2670
rect 160 1490 170 2660
rect 190 1490 200 2660
rect 160 1480 200 1490
rect 260 2660 300 2670
rect 260 1490 270 2660
rect 290 1490 300 2660
rect 260 1480 300 1490
rect 360 2660 400 2670
rect 360 1490 370 2660
rect 390 1490 400 2660
rect 360 1480 400 1490
rect 460 2660 500 2670
rect 460 1490 470 2660
rect 490 1490 500 2660
rect 460 1480 500 1490
rect 700 2660 740 2670
rect 700 1490 710 2660
rect 730 1490 740 2660
rect 700 1480 740 1490
rect 800 2660 840 2670
rect 800 1490 810 2660
rect 830 1490 840 2660
rect 800 1480 840 1490
rect 900 2660 940 2670
rect 900 1490 910 2660
rect 930 1490 940 2660
rect 900 1480 940 1490
rect 1000 2660 1040 2670
rect 1000 1490 1010 2660
rect 1030 1490 1040 2660
rect 1000 1480 1040 1490
rect 1100 2660 1140 2670
rect 1100 1490 1110 2660
rect 1130 1490 1140 2660
rect 1100 1480 1140 1490
rect 1200 2660 1290 2670
rect 1200 1490 1210 2660
rect 1235 1490 1255 2660
rect 1280 1490 1290 2660
rect 1200 1480 1290 1490
rect -20 1460 0 1480
rect 180 1460 200 1480
rect 360 1460 380 1480
rect 820 1460 840 1480
rect 1000 1460 1020 1480
rect 1200 1460 1220 1480
rect -20 1455 50 1460
rect -20 1435 20 1455
rect 10 1430 20 1435
rect 40 1430 50 1455
rect 10 1425 50 1430
rect 110 1455 150 1460
rect 110 1430 120 1455
rect 140 1430 150 1455
rect 180 1440 380 1460
rect 410 1455 450 1460
rect 110 1425 150 1430
rect 410 1430 420 1455
rect 440 1430 450 1455
rect 410 1425 450 1430
rect 750 1455 790 1460
rect 750 1430 760 1455
rect 780 1430 790 1455
rect 820 1440 1020 1460
rect 1050 1455 1090 1460
rect 750 1425 790 1430
rect 1050 1430 1060 1455
rect 1080 1430 1090 1455
rect 1050 1425 1090 1430
rect 1150 1455 1220 1460
rect 1150 1430 1160 1455
rect 1180 1435 1220 1455
rect 1180 1430 1190 1435
rect 1150 1425 1190 1430
rect 120 1405 140 1425
rect 1060 1405 1080 1425
rect -115 1385 1080 1405
rect 200 1350 245 1355
rect 200 1340 210 1350
rect -115 1330 210 1340
rect 235 1340 245 1350
rect 955 1350 1000 1355
rect 955 1340 965 1350
rect 235 1330 965 1340
rect 990 1330 1000 1350
rect -115 1320 1000 1330
rect -115 1295 795 1300
rect -115 1280 415 1295
rect 405 1275 415 1280
rect 440 1280 760 1295
rect 440 1275 450 1280
rect 405 1270 450 1275
rect 750 1275 760 1280
rect 785 1275 795 1295
rect 750 1270 795 1275
rect 60 1220 105 1225
rect 60 1200 70 1220
rect 95 1200 105 1220
rect 60 1195 105 1200
rect 1095 1220 1140 1225
rect 1095 1200 1105 1220
rect 1130 1200 1140 1220
rect 1095 1195 1140 1200
rect 70 1150 90 1195
rect 520 1155 565 1160
rect 520 1150 530 1155
rect -90 1140 0 1150
rect -90 -30 -80 1140
rect -55 -30 -30 1140
rect -10 -30 0 1140
rect -90 -40 0 -30
rect 60 1140 100 1150
rect 60 -30 70 1140
rect 90 -30 100 1140
rect 60 -40 100 -30
rect 160 1140 200 1150
rect 160 -30 170 1140
rect 190 -30 200 1140
rect 160 -40 200 -30
rect 260 1140 300 1150
rect 260 -30 270 1140
rect 290 -30 300 1140
rect 260 -40 300 -30
rect 360 1140 400 1150
rect 360 -30 370 1140
rect 390 -30 400 1140
rect 360 -40 400 -30
rect 460 1140 530 1150
rect 460 -30 470 1140
rect 490 1135 530 1140
rect 555 1135 565 1155
rect 490 1130 565 1135
rect 635 1155 680 1160
rect 635 1135 645 1155
rect 670 1150 680 1155
rect 1110 1150 1130 1195
rect 670 1140 740 1150
rect 670 1135 710 1140
rect 635 1130 710 1135
rect 490 -30 500 1130
rect 460 -40 500 -30
rect -30 -65 -10 -40
rect 480 -60 500 -40
rect 700 -30 710 1130
rect 730 -30 740 1140
rect 700 -40 740 -30
rect 800 1140 840 1150
rect 800 -30 810 1140
rect 830 -30 840 1140
rect 800 -40 840 -30
rect 900 1140 940 1150
rect 900 -30 910 1140
rect 930 -30 940 1140
rect 900 -40 940 -30
rect 1000 1140 1040 1150
rect 1000 -30 1010 1140
rect 1030 -30 1040 1140
rect 1000 -40 1040 -30
rect 1100 1140 1140 1150
rect 1100 -30 1110 1140
rect 1130 -30 1140 1140
rect 1100 -40 1140 -30
rect 1200 1140 1290 1150
rect 1200 -30 1210 1140
rect 1230 -30 1255 1140
rect 1280 -30 1290 1140
rect 1200 -40 1290 -30
rect 700 -60 720 -40
rect 10 -65 50 -60
rect -30 -85 20 -65
rect 10 -90 20 -85
rect 40 -90 50 -65
rect 10 -95 50 -90
rect 110 -65 150 -60
rect 110 -90 120 -65
rect 140 -90 150 -65
rect 110 -95 150 -90
rect 210 -65 250 -60
rect 210 -90 220 -65
rect 240 -70 250 -65
rect 310 -65 350 -60
rect 310 -70 320 -65
rect 240 -90 320 -70
rect 340 -90 350 -65
rect 210 -95 250 -90
rect 310 -95 350 -90
rect 410 -65 450 -60
rect 410 -90 420 -65
rect 440 -90 450 -65
rect 480 -65 525 -60
rect 480 -85 490 -65
rect 515 -85 525 -65
rect 480 -90 525 -85
rect 675 -65 720 -60
rect 675 -85 685 -65
rect 710 -85 720 -65
rect 675 -90 720 -85
rect 750 -65 790 -60
rect 750 -90 760 -65
rect 780 -90 790 -65
rect 410 -95 450 -90
rect 750 -95 790 -90
rect 850 -65 890 -60
rect 850 -90 860 -65
rect 880 -70 890 -65
rect 950 -65 990 -60
rect 950 -70 960 -65
rect 880 -90 960 -70
rect 980 -90 990 -65
rect 850 -95 890 -90
rect 950 -95 990 -90
rect 1050 -65 1090 -60
rect 1050 -90 1060 -65
rect 1080 -90 1090 -65
rect 1050 -95 1090 -90
rect 1150 -65 1190 -60
rect 1210 -65 1230 -40
rect 1150 -90 1160 -65
rect 1180 -85 1230 -65
rect 1180 -90 1190 -85
rect 1150 -95 1190 -90
rect 120 -115 140 -95
rect 420 -115 440 -95
rect 760 -115 780 -95
rect 1060 -115 1080 -95
rect -115 -135 1080 -115
<< viali >>
rect -80 2885 -55 4055
rect -35 2885 -10 4055
rect 270 2885 290 4055
rect 910 2885 930 4055
rect 1210 2885 1235 4055
rect 1255 2885 1280 4055
rect -80 1490 -55 2660
rect -35 1490 -10 2660
rect 470 1490 490 2660
rect 710 1490 730 2660
rect 1210 1490 1235 2660
rect 1255 1490 1280 2660
rect -80 -30 -55 1140
rect -30 -30 -10 1140
rect 270 -30 290 1140
rect 910 -30 930 1140
rect 1210 -30 1230 1140
rect 1255 -30 1280 1140
<< metal1 >>
rect -115 4055 1315 4070
rect -115 2885 -80 4055
rect -55 2885 -35 4055
rect -10 2885 270 4055
rect 290 2885 910 4055
rect 930 2885 1210 4055
rect 1235 2885 1255 4055
rect 1280 2885 1315 4055
rect -115 2870 1315 2885
rect -115 2660 1315 2675
rect -115 1490 -80 2660
rect -55 1490 -35 2660
rect -10 1490 470 2660
rect 490 1490 710 2660
rect 730 1490 1210 2660
rect 1235 1490 1255 2660
rect 1280 1490 1315 2660
rect -115 1140 1315 1490
rect -115 -30 -80 1140
rect -55 -30 -30 1140
rect -10 -30 270 1140
rect 290 -30 910 1140
rect 930 -30 1210 1140
rect 1230 -30 1255 1140
rect 1280 -30 1315 1140
rect -115 -45 1315 -30
<< labels >>
rlabel locali -115 -125 -115 -125 7 VCN
port 1 w
rlabel locali -115 1290 -115 1290 7 VBN
port 2 w
rlabel locali -115 1330 -115 1330 7 V1
port 3 w
rlabel locali -115 1395 -115 1395 7 V2
port 4 w
rlabel locali -115 4155 -115 4155 7 VBP
port 5 w
rlabel locali -115 4195 -115 4195 7 VCP
port 6 w
rlabel locali 1315 2810 1315 2810 3 Vout
port 7 e
rlabel metal1 -115 1260 -115 1260 7 VN
port 8 w
rlabel metal1 -115 2885 -115 2885 7 VP
port 9 w
<< end >>
